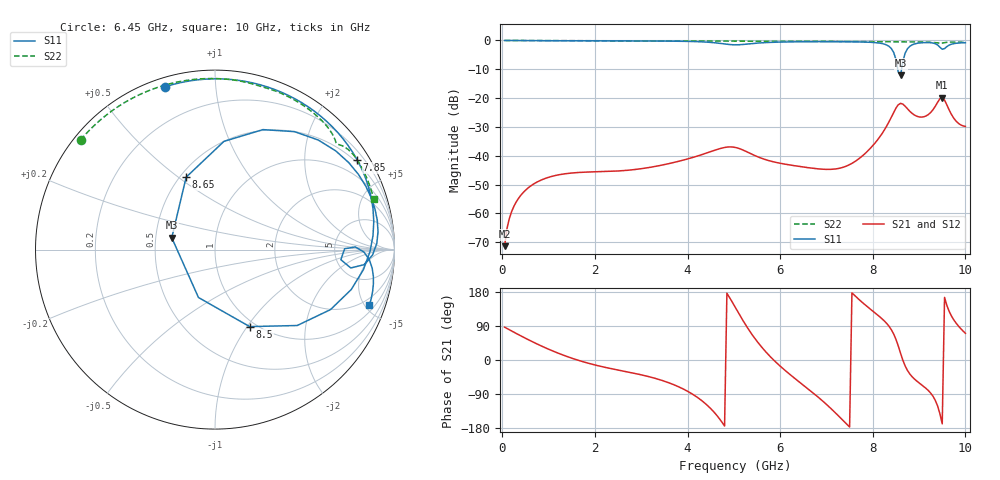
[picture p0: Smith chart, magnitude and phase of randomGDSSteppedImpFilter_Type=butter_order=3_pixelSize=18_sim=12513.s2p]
! freq	dB(S11)	phase(S11)	dB(S12)	phase(S12)
!  dB(S21)	phase(S21)	dB(S22)	phase(S22)
!S-par simulation data
#  GHz  S  DB  R 50
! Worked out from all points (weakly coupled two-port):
!   200 points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, 50 MHz to 10 GHz, reference 50 ohm
!   highest |S21| = -19.81 dB at 9.5 GHz (marker M1); lowest = -71.4 dB at 50 MHz (marker M2)
!   lowest |S11| = -12.1 dB at 8.6 GHz (marker M3), VSWR 1.67, Z = 30.4 + j4.27 ohm
!   |S11| at or under -10 dB: 8.539 GHz to 8.621 GHz (82.47 MHz wide, 0.961 % of centre)
!   |S22| runs from -0.9 to 0.0 dB; largest |S21 - S12| = 0
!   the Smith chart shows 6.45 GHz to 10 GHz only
!   S11 on the Smith chart (normalised r, x): 6.45 GHz: 0.04, +0.74; 7.85 GHz: 0.42, +3.42; 8.5 GHz: 0.93, -1.03; 8.65 GHz: 0.54, +0.53; 10 GHz: 1.43, -5.38
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0.05  -0.00 -4.5  -71.38 86.6  -71.38 86.6  -0.00 -2.2
0.2  -0.03 -17.8  -59.44 76.6  -59.44 76.6  -0.01 -8.9
0.5  -0.06 -43.5  -51.98 57.4  -51.98 57.4  -0.03 -22.1
1.05  -0.10 -85.9  -47.24 25.8  -47.24 25.8  -0.06 -45.7
1.75  -0.13 -130.2  -45.72 -4.8  -45.72 -4.8  -0.09 -73.8
2.55  -0.15 -171.8  -45.24 -27.7  -45.24 -27.7  -0.12 -103.0
3.4  -0.21 145.5  -43.41 -52.0  -43.41 -52.0  -0.15 -130.8
4.4  -0.56 69.1  -39.12 -116.6  -39.12 -116.6  -0.19 -160.7
4.8  -1.21 -2.5  -37.13 -174.2  -37.13 -174.2  -0.21 -172.2
5.05  -1.52 -71.6  -37.19 134.9  -37.19 134.9  -0.22 -179.3
5.5  -0.93 -170.2  -40.26 49.4  -40.26 49.4  -0.24 168.0
6.45  -0.46 107.1  -43.79 -61.5  -43.79 -61.5  -0.30 140.8
6.7  -0.43 93.0  -44.34 -85.8  -44.34 -85.8  -0.31 133.5
7.85  -0.57 32.2  -39.00 144.0  -39.00 144.0  -0.40 97.8
8.35  -2.04 -16.3  -28.24 89.1  -28.24 89.1  -0.45 81.0
8.5  -6.55 -65.8  -23.49 54.7  -23.49 54.7  -0.49 75.9
8.6  -12.05 164.7  -21.83 17.7  -21.83 17.7  -0.50 72.6
8.65  -7.24 111.7  -22.09 -0.6  -22.09 -0.6  -0.49 70.9
8.75  -2.86 68.2  -23.73 -27.7  -23.73 -27.7  -0.49 67.2
9  -0.89 27.6  -26.53 -60.4  -26.53 -60.4  -0.52 57.9
9.5  -3.05 -4.6  -19.81 -168.4  -19.81 -168.4  -0.89 40.5
10  -0.78 -19.7  -29.84 70.5  -29.84 70.5  -0.65 17.5
